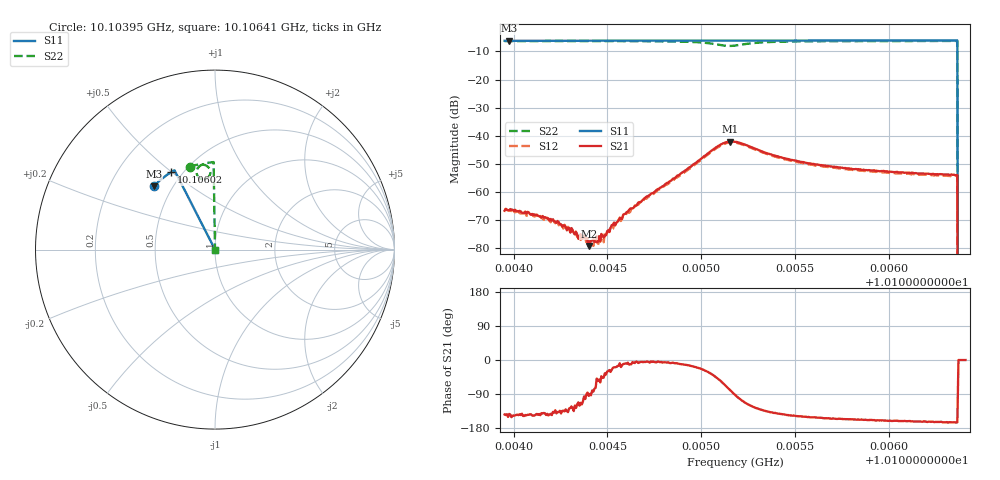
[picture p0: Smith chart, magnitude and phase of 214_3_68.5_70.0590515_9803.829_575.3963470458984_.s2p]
#  HZ  S  RI  R  50.00
! Rohde & Schwarz Vector Network Analyzer
! Rohde-Schwarz,ZNB20-2Port,1311601062101988,3.16
! Created: UTC 3/20/2024, 5:13:17 PM
! freq[Hz]  re:S11  im:S11  re:S21  im:S21  re:S12  im:S12  re:S22  im:S22
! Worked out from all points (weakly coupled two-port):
!   401 points, 10.10395 GHz to 10.10641 GHz, reference 50 ohm
!   highest |S21| = -42.09 dB at 10.10516 GHz (marker M1); lowest = -79.3 dB at 10.1044 GHz (marker M2)
!   lowest |S11| = -6.2 dB at 10.10398 GHz (marker M3), VSWR 2.93, Z = 19.8 + j18.4 ohm
!   |S11| at or under -10 dB: 10.10637 GHz to end of sweep
!   |S22| runs from - to -6.2 dB; largest |S21 - S12| = 0.00085
!   S11 on the Smith chart (normalised r, x): 10.10395 GHz: 0.39, +0.37; 10.10602 GHz: 0.43, +0.50; 10.10641 GHz: 1.00, +0.00
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1.0103951e10  -0.341 0.3528  -0.000371 -0.000271  -0.000379 -0.00028  -0.1411 0.4618
1.0103976e10  -0.34 0.3537  -0.000371 -0.000287  -0.000343 -0.000303  -0.1395 0.4623
1.0104216e10  -0.3295 0.3644  -0.000223 -0.000195  -0.000203 -0.000204  -0.1227 0.4675
1.0104363e10  -0.3232 0.3707  -7.71e-05 -0.000149  -6.38e-05 -0.000133  -0.1117 0.4703
1.01044e10  -0.3215 0.3719  -8.9e-06 -0.000108  1.34e-05 -0.000106  -0.1087 0.4709
1.0104412e10  -0.3211 0.3726  -6.75e-06 -0.00013  2.72e-05 -0.000112  -0.1079 0.4712
1.0104449e10  -0.3194 0.3742  7.47e-05 -0.000105  6.05e-05 -9.4e-05  -0.1049 0.4718
1.0104468e10  -0.3186 0.3749  0.00013 -0.00012  0.000118 -8.08e-05  -0.1033 0.4721
1.0104498e10  -0.3172 0.3763  0.00017 -9.98e-05  0.000167 -9.22e-05  -0.1007 0.4726
1.0104529e10  -0.3159 0.3774  0.000239 -9.06e-05  0.000203 -7.96e-05  -0.098 0.4729
1.010464e10  -0.3108 0.382  0.000514 -6.39e-05  0.00052 -1.7e-05  -0.0879 0.4742
1.0104775e10  -0.3046 0.3873  0.00113 -9e-05  0.00109 -1.55e-05  -0.0728 0.4746
1.0105082e10  -0.29 0.3989  0.00429 -0.00454  0.00455 -0.0039  -0.0267 0.4221
1.0105156e10  -0.2866 0.4014  0.00134 -0.00774  0.00202 -0.0073  -0.0624 0.392
1.010518e10  -0.2855 0.4023  -0.000229 -0.0078  0.000453 -0.00752  -0.079 0.3951
1.010542e10  -0.2742 0.4113  -0.00327 -0.00254  -0.00293 -0.00272  -0.0876 0.4637
1.0105592e10  -0.2657 0.4175  -0.00275 -0.0015  -0.00251 -0.00172  -0.0686 0.4756
1.0106004e10  -0.2448 0.4312  -0.00214 -0.000767  -0.00197 -0.0009  -0.0338 0.4846
1.0106022e10  -0.2439 0.4319  -0.00213 -0.000748  -0.00198 -0.000915  -0.0325 0.4847
1.0106354e10  -0.2266 0.4421  -0.0019 -0.00053  -0.00182 -0.000675  -0.00855 0.4874
1.0106385e10  0 0  0 0  0 0  0 0
1.0106409e10  0 0  0 0  0 0  0 0
